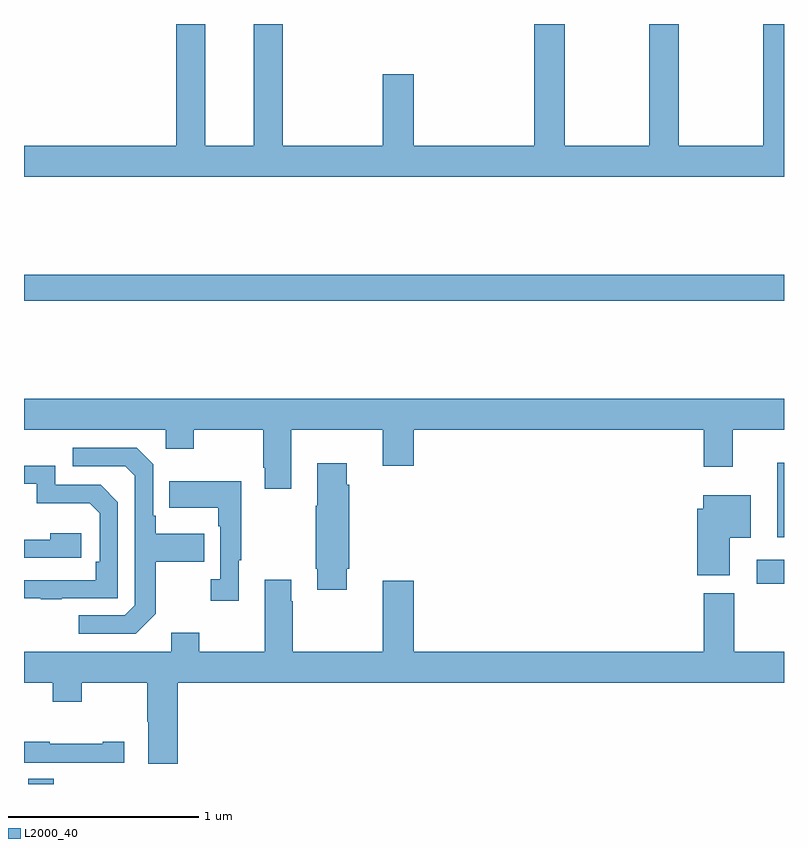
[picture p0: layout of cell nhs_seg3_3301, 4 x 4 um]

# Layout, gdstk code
import gdstk
lib = gdstk.Library(unit=1e-6, precision=1e-09)
def R(c, l, rs):  # rectangles x0, y0, x1, y1
    for r in rs: c.add(gdstk.rectangle(r[:2], r[2:], *l))
def P(c, l, *ps):  # polygons
    for p in ps: c.add(gdstk.Polygon(p, *l))
L2000_40 = (2000, 40)

nhs_seg3_3301 = lib.new_cell('nhs_seg3_3301')
R(nhs_seg3_3301, L2000_40, [(283.022,684.4,283.156,684.428), (286.857,685.453,287,685.581), (286.964,685.7,287,686.092), (283,686.944,287,687.08)])
P(nhs_seg3_3301, L2000_40, [(286.291,688.4),(286.291,687.76),(285.846,687.76),(285.846,688.4),(285.686,688.4),(285.686,687.76),(285.052,687.76),(285.052,688.135),(284.888,688.135),(284.888,687.76),(284.363,687.76),(284.363,688.4),(284.21,688.4),(284.21,687.76),(283.954,687.76),(283.954,688.4),(283.802,688.4),(283.802,687.76),(283,687.76),(283,687.596),(287,687.596),(287,688.4),(286.891,688.4),(286.891,687.76),(286.446,687.76),(286.446,688.4)],
  [(284.407,686.264),(284.888,686.264),(284.888,686.076),(285.052,686.076),(285.052,686.264),(286.577,686.264),(286.577,686.07),(286.729,686.07),(286.729,686.264),(287,686.264),(287,686.428),(283,686.428),(283,686.264),(283.746,686.264),(283.746,686.165),(283.893,686.165),(283.893,686.264),(284.26,686.264),(284.26,686.065),(284.267,686.065),(284.267,685.953),(284.407,685.953)],
  [(283.693,685.297),(283.693,685.57),(283.949,685.57),(283.949,685.717),(283.693,685.717),(283.693,685.813),(283.68,685.813),(283.68,686.082),(283.593,686.169),(283.257,686.169),(283.257,686.073),(283.533,686.073),(283.584,686.022),(283.584,685.341),(283.53,685.287),(283.287,685.287),(283.287,685.191),(283.587,685.191)],
  [(284.698,685.534),(284.711,685.534),(284.711,685.976),(284.698,685.976),(284.698,686.089),(284.543,686.089),(284.543,685.865),(284.536,685.865),(284.536,685.534),(284.543,685.534),(284.543,685.422),(284.698,685.422)],
  [(283.199,685.377),(283.494,685.377),(283.494,685.884),(283.404,685.974),(283.164,685.974),(283.164,686.076),(283,686.076),(283,685.98),(283.068,685.98),(283.068,685.877),(283.345,685.877),(283.398,685.824),(283.398,685.57),(283.378,685.57),(283.378,685.473),(283,685.473),(283,685.377),(283.087,685.377),(283.087,685.372),(283.199,685.372)],
  [(284.131,685.577),(284.143,685.577),(284.143,685.993),(283.765,685.993),(283.765,685.853),(284.022,685.853),(284.022,685.757),(284.034,685.757),(284.034,685.478),(283.983,685.478),(283.983,685.365),(284.131,685.365)],
  [(286.714,685.697),(286.825,685.697),(286.825,685.921),(286.574,685.921),(286.574,685.848),(286.544,685.848),(286.544,685.5),(286.714,685.5)],
  [(283.3,685.72),(283.139,685.72),(283.139,685.686),(283,685.686),(283,685.59),(283.3,685.59)],
  [(287,685.096),(286.737,685.096),(286.737,685.405),(286.577,685.405),(286.577,685.096),(285.052,685.096),(285.052,685.471),(284.888,685.471),(284.888,685.096),(284.415,685.096),(284.415,685.361),(284.407,685.361),(284.407,685.474),(284.267,685.474),(284.267,685.096),(283.923,685.096),(283.923,685.195),(283.775,685.195),(283.775,685.096),(283,685.096),(283,684.932),(283.15,684.932),(283.15,684.833),(283.305,684.833),(283.305,684.932),(283.648,684.932),(283.648,684.728),(283.655,684.728),(283.655,684.507),(283.808,684.507),(283.808,684.932),(287,684.932)],
  [(283.528,684.622),(283.415,684.622),(283.415,684.612),(283.136,684.612),(283.136,684.622),(283,684.622),(283,684.513),(283.528,684.513)])

lib.write_gds('nhs_seg3_3301.gds')
